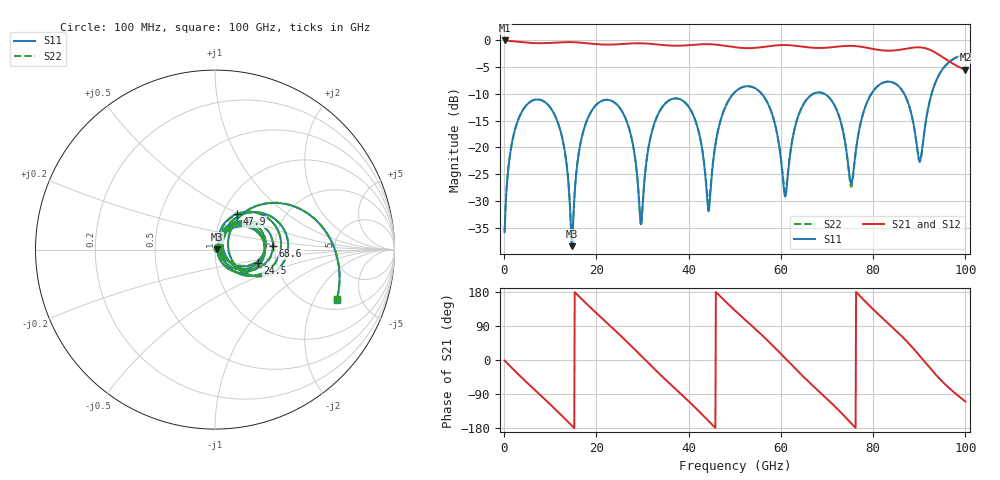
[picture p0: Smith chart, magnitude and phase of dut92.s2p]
! Touchstone file exported from HFSS 2026.1.0
!  File:  C:/ffzhzh/LocalFiles/Ansys_Project_Files/temp_train_TSV_RDL_92_1783631439_26216.aedt
!  Generated:  05:18:23 AM Jul 10, 2026
!  Design:  TSV_RDL
!  Project:  temp_train_TSV_RDL_92_1783631439_26216
! Variables:
!  h_bsmrdl = 2.78um
!  h_ox = 20um
!  h_rdl = 5um
!  h_sub = 81.81um
!  h_tmrdl = 4.03um
!  h_tsv = 81.81um
!  h_via = 3um
!  l_bsmrdl = 306.01um
!  l_sub = 3942.46um
!  l_tmrdl = 615.3um
!  m_sub = 200um
!  pitch = 41.21um
!  r_tsv = 9.88um
!  s_tmrdl = 10um
!  w_bsmrdl = 26.38um
!  w_sub = 500um
!  w_tmrdl = 28.03um
!  x_tsv_center1 = 629.315um
!  x_tsv_center2 = 961.705um
!  x_tsv_center3 = 1605.035um
!  x_tsv_center4 = 1937.425um
!  x_tsv_center5 = 2580.755um
!  x_tsv_center6 = 2913.145um
# GHz S MA R 50.000000
! Terminal data exported
! Port[1] = TM_RDL1_1_T1
! Port[2] = TM_RDL5_1_T1
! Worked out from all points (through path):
!   1000 points, 100 MHz to 100 GHz, reference 50 ohm
!   highest |S21| = -0.12 dB at 100 MHz (marker M1); lowest = -5.6 dB at 100 GHz (marker M2)
!   group delay of S21, straight-line fit = 33 ps
!   lowest |S11| = -38.3 dB at 14.7 GHz (marker M3), VSWR 1.02, Z = 51.2 + j0.106 ohm
!   |S11| at or under -10 dB: start of sweep to 49.73 GHz; 55.8 GHz to 67.12 GHz (11.31 GHz wide, 18.4 % of centre); 69.33 GHz to 79.64 GHz (10.31 GHz wide, 13.8 % of centre) (the widest 3 of 4)
!   |S22| runs from -37.5 to -2.7 dB; largest |S21 - S12| = 9.3e-14
!   S11 on the Smith chart (normalised r, x): 100 MHz: 1.03, +0.02; 24.5 GHz: 1.60, -0.26; 47.9 GHz: 1.17, +0.49; 68.6 GHz: 1.95, +0.08; 100 GHz: 2.56, -3.08
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0.1  0.01631 29.7  0.986 -1.4  0.986 -1.4  0.01631 29.7
! Gamma 0 0 0 0
! Port Impedance 50 0 50 0
2.5  0.1543 50.7  0.9652 -30.9  0.9652 -30.9  0.1543 50.7
7.4  0.279 -1.7  0.9293 -87.6  0.9293 -87.6  0.2789 -1.5
12.2  0.1431 -52.8  0.9481 -143.2  0.9481 -143.2  0.143 -52.3
14.7  0.0121 4.9  0.9511 -173.6  0.9511 -173.6  0.01335 5.7
16.8  0.1224 62.5  0.9388 161.0  0.9388 161.0  0.1228 62.0
24.5  0.2489 -17.7  0.9073 72.8  0.9073 72.8  0.249 -17.8
29.7  0.01929 13.6  0.9283 10.9  0.9283 10.9  0.01886 13.6
33.4  0.2046 49.9  0.9031 -33.6  0.9031 -33.6  0.2046 50.3
40.4  0.2243 -21.8  0.8935 -113.4  0.8935 -113.4  0.2246 -20.8
44.3  0.02548 13.5  0.9105 -160.7  0.9105 -160.7  0.03054 14.3
47.9  0.2346 58.3  0.879 155.3  0.879 155.3  0.2353 57.2
50.1  0.3286 36.1  0.8516 130.0  0.8516 130.0  0.3291 35.4
57  0.2647 -33.2  0.8667 52.8  0.8667 52.8  0.2651 -32.9
60.9  0.03496 -0.5  0.8938 4.8  0.8938 4.8  0.03912 -0.3
66.7  0.309 22.0  0.845 -65.1  0.845 -65.1  0.3095 20.9
68.6  0.3235 3.2  0.8398 -86.6  0.8398 -86.6  0.3238 2.2
75.9  0.07056 52.1  0.8761 -175.4  0.8761 -175.4  0.06837 53.5
83.4  0.4089 4.4  0.7922 95.2  0.7922 95.2  0.4086 4.3
90.7  0.1027 41.8  0.8454 2.2  0.8454 2.2  0.1016 42.3
94.7  0.5066 28.0  0.707 -53.2  0.707 -53.2  0.5066 28.1
100  0.7338 -22.3  0.5264 -109.4  0.5264 -109.4  0.7341 -22.2
